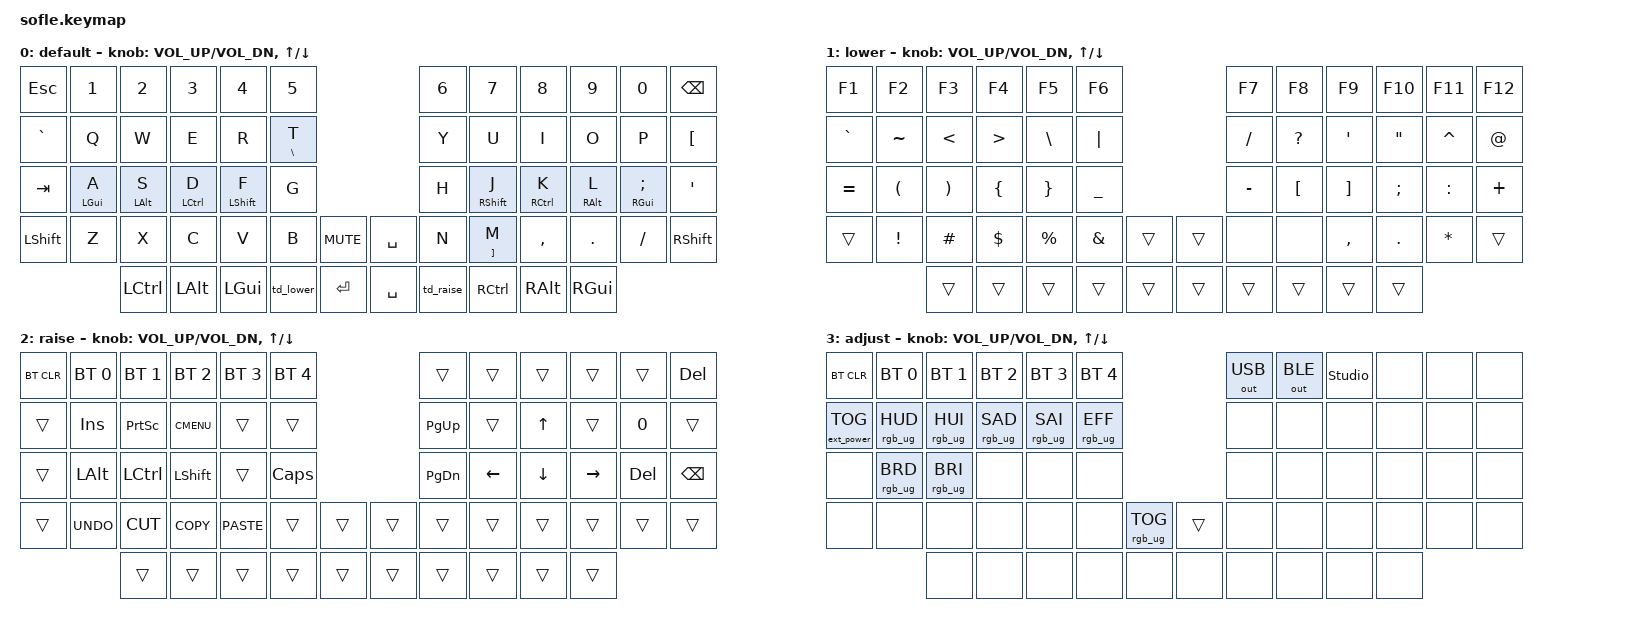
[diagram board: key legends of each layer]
/*
 * Copyright (c) 2020 The ZMK Contributors
 *
 * SPDX-License-Identifier: MIT
 */

#include <behaviors.dtsi>
#include <dt-bindings/zmk/keys.h>
#include <dt-bindings/zmk/bt.h>
#include <dt-bindings/zmk/rgb.h>
#include <dt-bindings/zmk/ext_power.h>
#include <dt-bindings/zmk/outputs.h>

#define BASE 0
#define LOWER 1
#define RAISE 2
#define ADJUST 3

/* Language selection.  Karabiner (karabiner/sofle.json) maps these keys from
 * this keyboard to its select_input_source, which picks Latin or Cyrillic
 * outright, so asking for the language already in use changes nothing.
 * F19 and F20 have no default meaning on macOS, so without Karabiner they
 * do nothing at all. */
#define LANG_EN F19
#define LANG_RU F20

/* Held for as long as the symbol layer is.  While it is down and the Russian
 * layout is active, Karabiner rewrites each of the layer's keys into the
 * combination that yields the same glyph under that layout ([ becomes
 * Shift+], { becomes Option+9 and so on), so nothing switches layouts.  The
 * firmware itself does not track which language is on.  F18 has no default
 * meaning on macOS, so without Karabiner it is harmless. */
#define SYM_SIGNAL F18

#define LEFT_HAND_KEYS  \
    0 1 2 3 4 5        \
    12 13 14 15 16 17 \
    24 25 26 27 28 29 \
    36 37 38 39 40 41 42 \
    50 51 52 53 54

#define RIGHT_HAND_KEYS \
    6 7 8 9 10 11       \
    18 19 20 21 22 23   \
    30 31 32 33 34 35   \
    43 44 45 46 47 48 49 \
    55 56 57 58 59

/ {
    behaviors {
        hml: home_row_mod_left {
            compatible = "zmk,behavior-hold-tap";
            #binding-cells = <2>;
            display-name = "Home Row Mod Left";
            flavor = "balanced";
            tapping-term-ms = <280>;
            quick-tap-ms = <175>;
            require-prior-idle-ms = <200>;
            bindings = <&kp>, <&kp>;
            hold-trigger-key-positions = <RIGHT_HAND_KEYS>;
            hold-trigger-on-release;
        };

        hmr: home_row_mod_right {
            compatible = "zmk,behavior-hold-tap";
            #binding-cells = <2>;
            display-name = "Home Row Mod Right";
            flavor = "balanced";
            tapping-term-ms = <280>;
            quick-tap-ms = <175>;
            require-prior-idle-ms = <200>;
            bindings = <&kp>, <&kp>;
            hold-trigger-key-positions = <LEFT_HAND_KEYS>;
            hold-trigger-on-release;
        };

        /* Hold for ё and ъ, tap for е and ь.  A tap-dance would have to sit
         * on the letter until its term expired, which lags the text by one
         * character on two of the most common Cyrillic letters.  A hold-tap
         * releases the letter the moment the key comes up instead.
         *
         * The held glyphs are BSLH and RBKT because the macOS "Russian"
         * layout keeps ё on the key right of ъ; "Russian - PC" would want
         * GRAVE for ё. */
        ht_yo: hold_tap_yo {
            compatible = "zmk,behavior-hold-tap";
            #binding-cells = <2>;
            display-name = "T / Ё";
            flavor = "tap-preferred";
            tapping-term-ms = <250>;
            quick-tap-ms = <200>;
            bindings = <&kp>, <&kp>;
        };

        ht_hard: hold_tap_hard {
            compatible = "zmk,behavior-hold-tap";
            #binding-cells = <2>;
            display-name = "M / Ъ";
            flavor = "tap-preferred";
            tapping-term-ms = <250>;
            quick-tap-ms = <200>;
            bindings = <&kp>, <&kp>;
        };

        /* Hold for the layer as before; tap twice to pick a language: lower
         * means Latin, raise means Cyrillic, selected outright by Karabiner.
         * A tap-dance also fires the moment another key goes down, so holding
         * the layer and typing stays instant. */
        td_lower: tap_dance_lower {
            compatible = "zmk,behavior-tap-dance";
            #binding-cells = <0>;
            display-name = "Lower / Latin";
            tapping-term-ms = <190>;
            bindings = <&lower_sym>, <&kp LANG_EN>;
        };

        td_raise: tap_dance_raise {
            compatible = "zmk,behavior-tap-dance";
            #binding-cells = <0>;
            display-name = "Raise / Cyrillic";
            tapping-term-ms = <190>;
            bindings = <&mo RAISE>, <&kp LANG_RU>;
        };
    };

    macros {
        /* Holds the symbol layer together with SYM_SIGNAL, so Karabiner knows
         * exactly when the layer's keys mean glyphs.  The signal is released
         * last, after the layer is already gone. */
        lower_sym: lower_symbols {
            compatible = "zmk,behavior-macro";
            #binding-cells = <0>;
            wait-ms = <0>;
            tap-ms = <0>;
            bindings
                = <&macro_press &kp SYM_SIGNAL &mo LOWER>
                , <&macro_pause_for_release>
                , <&macro_release &mo LOWER &kp SYM_SIGNAL>;
        };
    };

    conditional_layers {
        compatible = "zmk,conditional-layers";

        adjust_layer {
            if-layers = <LOWER RAISE>;
            then-layer = <ADJUST>;
        };
    };

    keymap {
        compatible = "zmk,keymap";

        default_layer {
            display-name = "default";
// ------------------------------------------------------------------------------------------------------------
// |  ESC  |  1  |  2  |  3   |  4   |  5   |                   |  6   |  7    |  8    |  9   |   0   | BKSPC |
// |   `   |  Q  |  W  |  E   |  R   | T/\  |                   |  Y   |  U    |  I    |  O   |   P   |   [   |
// |  TAB  | A/CMD | S/OPT | D/CTRL | F/SHFT | G |              | H | J/SHFT | K/CTRL | L/OPT | ;/CMD |   '   |
// | SHIFT |  Z  |  X  |  C   |  V   |  B   |  MUTE  |  | SPACE  |  N   | M/]   |  ,    |  .   |   /   | SHIFT |
//               | CTRL | ALT | GUI | LOWER/EN | ENTER |  | SPACE | RAISE/RU | CTRL | ALT | GUI |
            bindings = <
&kp ESC   &kp N1 &kp N2   &kp N3   &kp N4    &kp N5                           &kp N6 &kp N7    &kp N8     &kp N9   &kp N0   &kp BSPC
&kp GRAVE &kp Q  &kp W    &kp E    &kp R     &ht_yo BSLH T                          &kp Y  &kp U     &kp I      &kp O    &kp P    &kp LBKT
&kp TAB   &hml LGUI A &hml LALT S &hml LCTRL D &hml LSHFT F &kp G              &kp H &hmr RSHFT J &hmr RCTRL K &hmr RALT L &hmr RGUI SEMI &kp SQT
&kp LSHFT &kp Z  &kp X    &kp C    &kp V     &kp B      &kp C_MUTE &kp SPACE &kp N  &ht_hard RBKT M &kp COMMA &kp DOT  &kp FSLH &kp RSHFT
                 &kp LCTRL &kp LALT &kp LGUI &td_lower  &kp RET    &kp SPACE  &td_raise  &kp RCTRL &kp RALT &kp RGUI
            >;

            sensor-bindings = <&inc_dec_kp C_VOL_UP C_VOL_DN &inc_dec_kp UP DOWN>;
        };

        lower_layer {
            display-name = "lower";
// ------------------------------------------------------------------------------------------------------------
// Digits are left out on purpose: the base layer already has them, which frees
// the row for F1-F12 and the whole ASCII punctuation set.  Paired glyphs sit
// next to each other, and the home row carries the brackets and the operators
// used most while programming.
//
// These are plain HID keycodes, so the glyphs are the ones the US layout
// produces.  Under Russian, Karabiner rewrites them to the same glyphs.
// ------------------------------------------------------------------------------------------------------------
// |  F1   | F2  | F3  |  F4  |  F5  |  F6  |                   |  F7  |  F8   |  F9   | F10  |  F11  |  F12  |
// |   `   |  ~  |  <  |  >   |  \   | pipe |                   |  /   |  ?    |  '    |  "   |   ^   |   @   |
// |   =   |  (  |  )  |  {   |  }   |  _   |                   |  -   |  [    |  ]    |  ;   |   :   |   +   |
// |       |  !  |  #  |  $   |  %   |  &   |        |  |       |      |       |  ,    |  .   |   *   |       |
//               |     |      |      |      |        |  |       |      |       |       |      |
            bindings = <
&kp F1     &kp F2     &kp F3     &kp F4     &kp F5     &kp F6                            &kp F7     &kp F8     &kp F9     &kp F10    &kp F11    &kp F12
&kp GRAVE  &kp TILDE  &kp LT     &kp GT     &kp BSLH   &kp PIPE                          &kp FSLH   &kp QMARK  &kp SQT    &kp DQT    &kp CARET  &kp AT
&kp EQUAL  &kp LPAR   &kp RPAR   &kp LBRC   &kp RBRC   &kp UNDER                         &kp MINUS  &kp LBKT   &kp RBKT   &kp SEMI   &kp COLON  &kp PLUS
&trans     &kp EXCL   &kp HASH   &kp DLLR   &kp PRCNT  &kp AMPS   &trans &trans          &none      &none      &kp COMMA  &kp DOT    &kp ASTRK  &trans
                      &trans     &trans     &trans     &trans     &trans &trans  &trans  &trans     &trans     &trans
            >;

            sensor-bindings = <&inc_dec_kp C_VOL_UP C_VOL_DN &inc_dec_kp UP DOWN>;
        };

        raise_layer {
            display-name = "raise";
// ------------------------------------------------------------------------------------------------------------
// | BTCLR | BT1  | BT2  |  BT3  |  BT4  |  BT5 |                |      |      |       |      |       |  DEL  |
// |       | INS  | PSCR | GUI   |       |      |                | PGUP |      |   ^   |      |   0   |       |
// |       | ALT  | CTRL | SHIFT |       | CAPS |                | PGDN |   <- |   v   |  ->  |  DEL  | BKSPC |
// |       | UNDO | CUT  | COPY  | PASTE |      |      |  |      |      |      |       |      |       |       |
//                |      |       |       |      |      |  |      |      |      |       |      |
            bindings = <
&bt BT_CLR &bt BT_SEL 0 &bt BT_SEL 1 &bt BT_SEL 2 &bt BT_SEL 3 &bt BT_SEL 4                  &trans    &trans   &trans   &trans    &trans  &kp DEL
&trans     &kp INS      &kp PSCRN    &kp K_CMENU  &trans       &trans                        &kp PG_UP &trans   &kp UP   &trans    &kp N0  &trans
&trans     &kp LALT     &kp LCTRL    &kp LSHFT    &trans       &kp CLCK                      &kp PG_DN &kp LEFT &kp DOWN &kp RIGHT &kp DEL &kp BSPC
&trans     &kp K_UNDO   &kp K_CUT    &kp K_COPY   &kp K_PASTE  &trans       &trans &trans  &trans    &trans   &trans   &trans    &trans  &trans
                        &trans       &trans        &trans       &trans       &trans &trans  &trans    &trans   &trans   &trans
            >;

            sensor-bindings = <&inc_dec_kp C_VOL_UP C_VOL_DN &inc_dec_kp UP DOWN>;
        };

        adjust_layer {
            display-name = "adjust";
// ----------------------------------------------------------------------------------------------------------------------------
// | BTCLR  |  BT1    |  BT2    |   BT3   |   BT4   |   BT5   |                  | USB  | BLE  | STUDIO|      |       |       |
// | EXTPWR | RGB_HUD | RGB_HUI | RGB_SAD | RGB_SAI | RGB_EFF |                  |      |      |       |      |       |       |
// |        | RGB_BRD | RGB_BRI |         |         |         |                  |      |      |       |      |       |       |
// |        |         |         |         |         |         | RGB_TOG | | SPACE  |      |      |       |      |       |       |
//                    |         |         |         |         |         | |      |      |      |       |      |
            bindings = <
&bt BT_CLR        &bt BT_SEL 0    &bt BT_SEL 1    &bt BT_SEL 2    &bt BT_SEL 3    &bt BT_SEL 4                            &out OUT_USB &out OUT_BLE &studio_unlock &none &none &none
&ext_power EP_TOG &rgb_ug RGB_HUD &rgb_ug RGB_HUI &rgb_ug RGB_SAD &rgb_ug RGB_SAI &rgb_ug RGB_EFF                         &none &none &none &none &none &none
&none             &rgb_ug RGB_BRD &rgb_ug RGB_BRI &none           &none           &none                                   &none &none &none &none &none &none
&none             &none           &none           &none           &none           &none            &rgb_ug RGB_TOG &trans &none &none &none &none &none &none
                                  &none           &none           &none           &none            &none           &none  &none &none &none &none
            >;

            sensor-bindings = <&inc_dec_kp C_VOL_UP C_VOL_DN &inc_dec_kp UP DOWN>;
        };
    };
};
